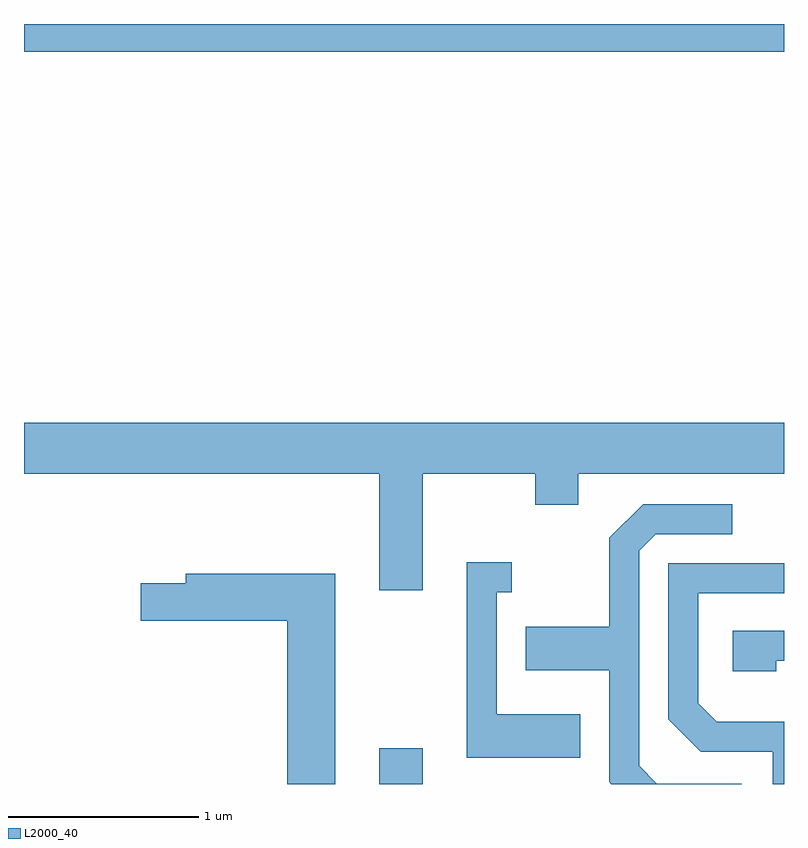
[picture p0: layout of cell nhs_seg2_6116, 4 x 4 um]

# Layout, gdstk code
import gdstk
lib = gdstk.Library(unit=1e-6, precision=1e-09)
def R(c, l, rs):  # rectangles x0, y0, x1, y1
    for r in rs: c.add(gdstk.rectangle(r[:2], r[2:], *l))
def P(c, l, *ps):  # polygons
    for p in ps: c.add(gdstk.Polygon(p, *l))
L2000_40 = (2000, 40)

nhs_seg2_6116 = lib.new_cell('nhs_seg2_6116')
R(nhs_seg2_6116, L2000_40, [(367.481,1037.802,367.709,1037.989), (365.611,1041.656,369.611,1041.802)])
P(nhs_seg2_6116, L2000_40, [(367.709,1039.436),(368.301,1039.436),(368.301,1039.271),(368.529,1039.271),(368.529,1039.436),(369.611,1039.436),(369.611,1039.704),(365.611,1039.704),(365.611,1039.436),(367.481,1039.436),(367.481,1038.821),(367.709,1038.821)],
  [(369.388,1037.804),(368.942,1037.804),(368.849,1037.897),(368.849,1039.029),(368.937,1039.116),(369.338,1039.116),(369.338,1039.274),(368.869,1039.274),(368.691,1039.097),(368.691,1038.629),(368.251,1038.629),(368.251,1038.401),(368.691,1038.401),(368.691,1037.814),(368.703,1037.802),(369.388,1037.802)],
  [(368.539,1038.169),(368.099,1038.169),(368.099,1038.811),(368.178,1038.811),(368.178,1038.969),(367.941,1038.969),(367.941,1037.941),(368.539,1037.941)],
  [(369.611,1038.129),(369.257,1038.129),(369.159,1038.227),(369.159,1038.806),(369.611,1038.806),(369.611,1038.964),(369.001,1038.964),(369.001,1038.144),(369.174,1037.971),(369.551,1037.971),(369.551,1037.802),(369.611,1037.802)],
  [(367.249,1038.909),(366.461,1038.909),(366.461,1038.859),(366.226,1038.859),(366.226,1038.661),(366.996,1038.661),(366.996,1037.802),(367.249,1037.802)],
  [(369.569,1038.451),(369.611,1038.451),(369.611,1038.609),(369.341,1038.609),(369.341,1038.396),(369.569,1038.396)])

lib.write_gds('nhs_seg2_6116.gds')
